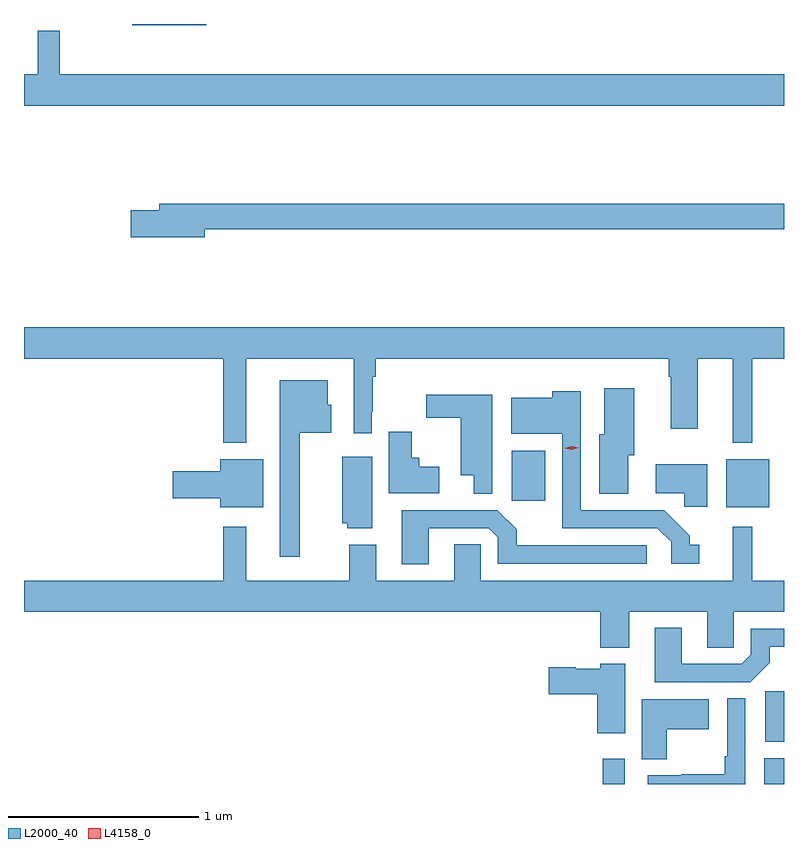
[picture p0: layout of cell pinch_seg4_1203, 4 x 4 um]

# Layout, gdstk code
import gdstk
lib = gdstk.Library(unit=1e-6, precision=1e-09)
def R(c, l, rs):  # rectangles x0, y0, x1, y1
    for r in rs: c.add(gdstk.rectangle(r[:2], r[2:], *l))
def P(c, l, *ps):  # polygons
    for p in ps: c.add(gdstk.Polygon(p, *l))
L2000_40 = (2000, 40)
L4158_0 = (4158, 0)

pinch_seg4_1203 = lib.new_cell('pinch_seg4_1203')
R(pinch_seg4_1203, L2000_40, [(318.337,818.557,318.453,818.689), (319.187,818.557,319.29,818.692), (319.19,818.78,319.29,819.044), (318.986,820.013,319.213,820.267), (317.858,820.049,318.034,820.312), (315.86,822.551,316.249,822.557)])
P(pinch_seg4_1203, L2000_40, [(319.29,822.292),(315.479,822.292),(315.479,822.521),(315.362,822.521),(315.362,822.292),(315.29,822.292),(315.29,822.128),(319.29,822.128)],
  [(316.24,821.476),(319.29,821.476),(319.29,821.612),(316.001,821.612),(316.001,821.576),(315.852,821.576),(315.852,821.434),(316.24,821.434)],
  [(316.459,820.796),(317.025,820.796),(317.025,820.404),(317.121,820.404),(317.121,820.516),(317.126,820.516),(317.126,820.7),(317.141,820.7),(317.141,820.796),(318.683,820.796),(318.683,820.7),(318.695,820.7),(318.695,820.428),(318.835,820.428),(318.835,820.796),(319.019,820.796),(319.019,820.352),(319.123,820.352),(319.123,820.796),(319.29,820.796),(319.29,820.96),(315.29,820.96),(315.29,820.796),(316.338,820.796),(316.338,820.352),(316.459,820.352)],
  [(316.741,820.406),(316.906,820.406),(316.906,820.554),(316.888,820.554),(316.888,820.681),(316.637,820.681),(316.637,819.753),(316.741,819.753)],
  [(318.469,820.286),(318.502,820.286),(318.502,820.639),(318.344,820.639),(318.344,820.398),(318.317,820.398),(318.317,820.084),(318.469,820.084)],
  [(318.844,819.815),(318.795,819.815),(318.795,819.864),(318.66,819.999),(318.219,819.999),(318.219,820.624),(318.07,820.624),(318.07,820.591),(317.855,820.591),(317.855,820.4),(318.123,820.4),(318.123,819.903),(318.624,819.903),(318.696,819.831),(318.696,819.717),(318.844,819.717)],
  [(317.754,820.308),(317.755,820.308),(317.755,820.606),(317.406,820.606),(317.406,820.484),(317.588,820.484),(317.588,820.181),(317.657,820.181),(317.657,820.084),(317.754,820.084)],
  [(317.476,820.228),(317.371,820.228),(317.371,820.273),(317.332,820.273),(317.332,820.411),(317.21,820.411),(317.21,820.088),(317.476,820.088)],
  [(317.122,820.279),(316.964,820.279),(316.964,819.93),(316.992,819.93),(316.992,819.902),(317.122,819.902)],
  [(316.549,820.267),(316.322,820.267),(316.322,820.202),(316.074,820.202),(316.074,820.06),(316.322,820.06),(316.322,820.013),(316.549,820.013)],
  [(318.886,820.24),(318.615,820.24),(318.615,820.088),(318.766,820.088),(318.766,820.016),(318.886,820.016)],
  [(317.419,819.903),(317.736,819.903),(317.784,819.855),(317.784,819.717),(318.568,819.717),(318.568,819.813),(317.883,819.813),(317.883,819.897),(317.781,819.999),(317.279,819.999),(317.279,819.714),(317.419,819.714)],
  [(319.026,819.464),(319.29,819.464),(319.29,819.628),(319.123,819.628),(319.123,819.91),(319.019,819.91),(319.019,819.628),(317.694,819.628),(317.694,819.818),(317.555,819.818),(317.555,819.628),(317.143,819.628),(317.143,819.817),(317.003,819.817),(317.003,819.628),(316.459,819.628),(316.459,819.91),(316.338,819.91),(316.338,819.628),(315.29,819.628),(315.29,819.464),(318.323,819.464),(318.323,819.275),(318.475,819.275),(318.475,819.464),(318.887,819.464),(318.887,819.274),(319.026,819.274)],
  [(319.215,819.195),(319.215,819.279),(319.29,819.279),(319.29,819.375),(319.116,819.375),(319.116,819.237),(319.068,819.189),(318.751,819.189),(318.751,819.379),(318.611,819.379),(318.611,819.093),(319.113,819.093)],
  [(318.454,819.19),(318.324,819.19),(318.324,819.163),(318.194,819.163),(318.194,819.171),(318.051,819.171),(318.051,819.029),(318.308,819.029),(318.308,818.823),(318.454,818.823)],
  [(319.086,819.008),(318.99,819.008),(318.99,818.704),(318.978,818.704),(318.978,818.608),(318.75,818.608),(318.75,818.602),(318.573,818.602),(318.573,818.557),(319.086,818.557)],
  [(318.672,818.846),(318.895,818.846),(318.895,819.004),(318.542,819.004),(318.542,818.687),(318.672,818.687)])
P(pinch_seg4_1203, L4158_0, [(318.172,820.315),(318.136,820.323),(318.135,820.324),(318.136,820.324),(318.171,820.335),(318.207,820.327),(318.207,820.327),(318.207,820.326)])

lib.write_gds('pinch_seg4_1203.gds')
